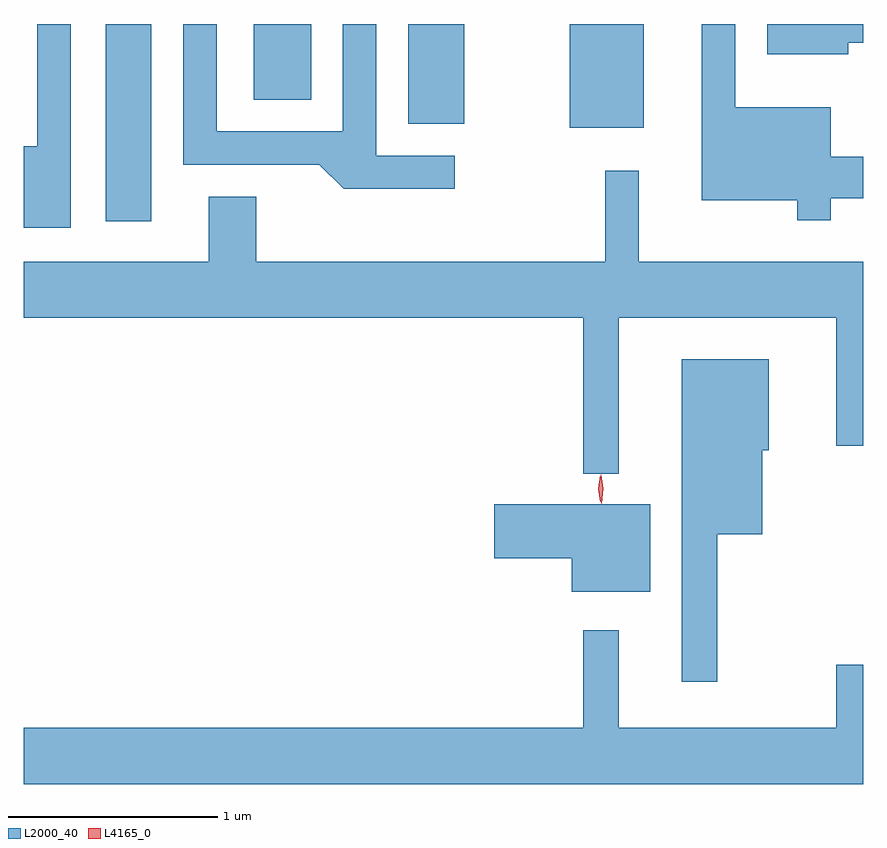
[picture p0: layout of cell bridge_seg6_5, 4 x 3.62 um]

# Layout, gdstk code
import gdstk
lib = gdstk.Library(unit=1e-6, precision=1e-09)
def R(c, l, rs):  # rectangles x0, y0, x1, y1
    for r in rs: c.add(gdstk.rectangle(r[:2], r[2:], *l))
def P(c, l, *ps):  # polygons
    for p in ps: c.add(gdstk.Polygon(p, *l))
L2000_40 = (2000, 40)
L4165_0 = (4165, 0)

bridge_seg6_5 = lib.new_cell('bridge_seg6_5')
R(bridge_seg6_5, L2000_40, [(1450.356,1643.736,1450.574,1644.676), (1452.566,1644.181,1452.919,1644.676), (1451.796,1644.201,1452.064,1644.676), (1451.061,1644.316,1451.334,1644.676)])
P(bridge_seg6_5, L2000_40, [(1450.189,1644.676),(1450.031,1644.676),(1450.031,1644.094),(1449.965,1644.094),(1449.965,1643.706),(1450.189,1643.706)],
  [(1453.894,1644.586),(1453.965,1644.586),(1453.965,1644.676),(1453.506,1644.676),(1453.506,1644.531),(1453.894,1644.531)],
  [(1452.018,1644.049),(1451.644,1644.049),(1451.644,1644.676),(1451.486,1644.676),(1451.486,1644.164),(1450.884,1644.164),(1450.884,1644.676),(1450.726,1644.676),(1450.726,1644.006),(1451.374,1644.006),(1451.489,1643.891),(1452.018,1643.891)],
  [(1453.809,1643.846),(1453.965,1643.846),(1453.965,1644.044),(1453.809,1644.044),(1453.809,1644.279),(1453.354,1644.279),(1453.354,1644.676),(1453.196,1644.676),(1453.196,1643.836),(1453.651,1643.836),(1453.651,1643.741),(1453.809,1643.741)],
  [(1452.799,1643.276),(1453.836,1643.276),(1453.836,1642.666),(1453.965,1642.666),(1453.965,1643.544),(1452.894,1643.544),(1452.894,1643.978),(1452.736,1643.978),(1452.736,1643.544),(1451.074,1643.544),(1451.074,1643.854),(1450.846,1643.854),(1450.846,1643.544),(1449.965,1643.544),(1449.965,1643.276),(1452.631,1643.276),(1452.631,1642.533),(1452.799,1642.533)],
  [(1453.269,1642.246),(1453.484,1642.246),(1453.484,1642.646),(1453.514,1642.646),(1453.514,1643.079),(1453.101,1643.079),(1453.101,1641.543),(1453.269,1641.543)],
  [(1452.949,1642.389),(1452.206,1642.389),(1452.206,1642.131),(1452.576,1642.131),(1452.576,1641.971),(1452.949,1641.971)],
  [(1453.965,1641.624),(1453.836,1641.624),(1453.836,1641.324),(1452.799,1641.324),(1452.799,1641.788),(1452.631,1641.788),(1452.631,1641.324),(1449.965,1641.324),(1449.965,1641.056),(1453.965,1641.056)])
P(bridge_seg6_5, L4165_0, [(1452.717,1642.394),(1452.717,1642.394),(1452.707,1642.462),(1452.716,1642.53),(1452.717,1642.53),(1452.717,1642.53),(1452.727,1642.462),(1452.718,1642.394)],
  [(1452.712,1642.4),(1452.712,1642.4),(1452.702,1642.463),(1452.712,1642.526),(1452.712,1642.527),(1452.712,1642.526),(1452.722,1642.463),(1452.712,1642.4)])

lib.write_gds('bridge_seg6_5.gds')
